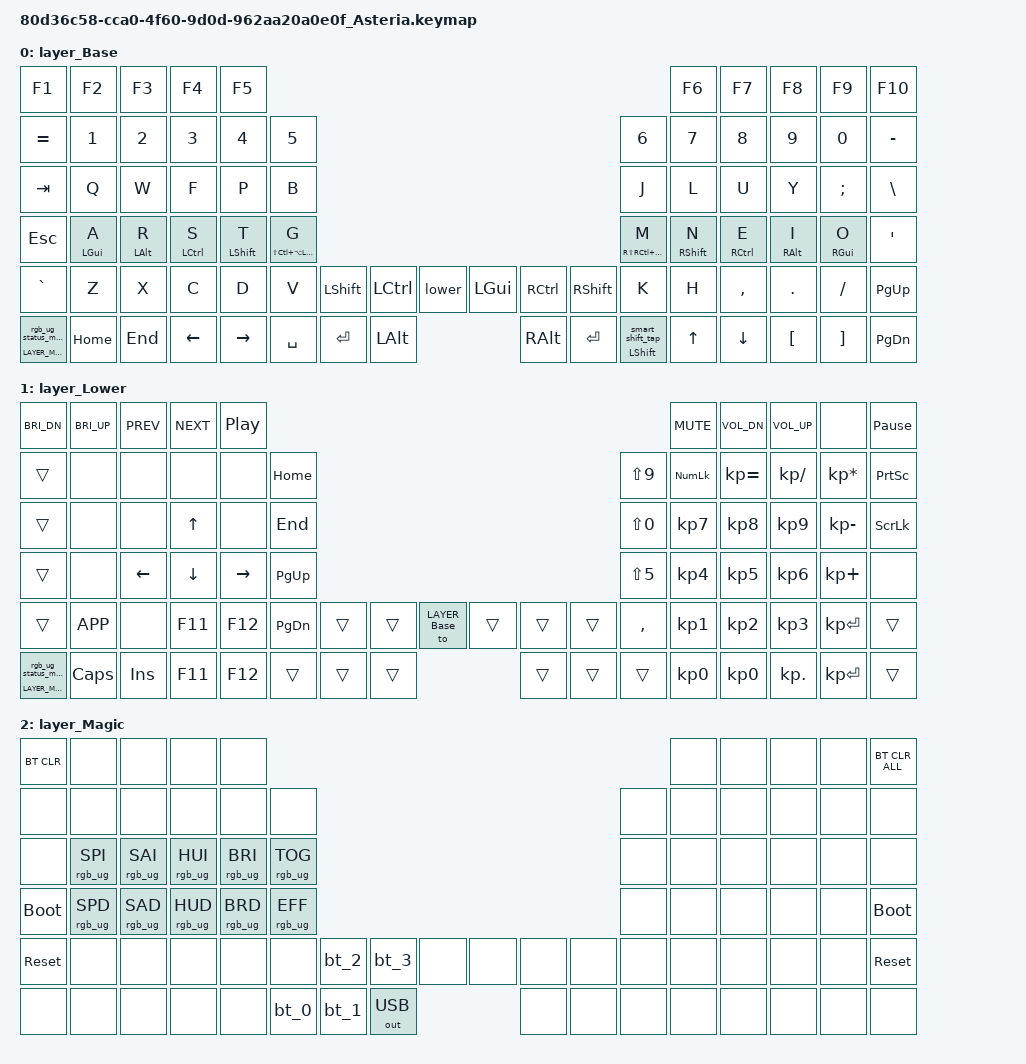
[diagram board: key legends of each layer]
/*
 * Copyright (c) 2020 The ZMK Contributors
 * Copyright (c) 2025 Innaworks Development Limited, trading as MoErgo
 *
 * SPDX-License-Identifier: MIT
 */


/* THIS FILE WAS GENERATED BY GLOVE80 LAYOUT EDITOR
 *
 * This file was generated automatically. You may or may not want to
 * edit it directly.
 */

#include <behaviors.dtsi>
/* Include all behavior includes needed */
#include <dt-bindings/zmk/outputs.h>
#include <dt-bindings/zmk/keys.h>
#include <dt-bindings/zmk/bt.h>
#include <dt-bindings/zmk/rgb.h>

/* On demand includes */


/* Helper Macros, based on https://github.com/urob/zmk-helpers/ */

#pragma once

#define ZMK_HELPER_STRINGIFY(x) #x

// Preprocessor mechanism to overload macros, cf. https://stackoverflow.com/a/27051616/6114651
#define VARGS_(_10, _9, _8, _7, _6, _5, _4, _3, _2, _1, N, ...) N
#define VARGS(...) VARGS_(__VA_ARGS__, 10, 9, 8, 7, 6, 5, 4, 3, 2, 1, 0)
#define CONCAT_(a, b) a##b
#define CONCAT(a, b) CONCAT_(a, b)

#define ZMK_BEHAVIOR_CORE_tap_dance  \
    compatible = "zmk,behavior-tap-dance"; \
    #binding-cells = <0>

#define ZMK_BEHAVIOR(name, type, ...) \
    name: name { \
        ZMK_BEHAVIOR_CORE_ ## type; \
        __VA_ARGS__ \
    };

#define ZMK_TAP_DANCE(name, ...) \
    ZMK_BEHAVIOR(name, tap_dance, __VA_ARGS__)

#define ZMK_TD_LAYER(name, layer) \
    ZMK_TAP_DANCE(name, \
        tapping-term-ms = <200>; \
        bindings = <&mo layer>, <&to layer>; \
)

/* Environment and metadata defines */
#define KB_TYPE_GLOVE_80 1
#define KB_TYPE_GO_60    2

#define KB_TYPE          KB_TYPE_GLOVE_80
#define EDITOR_HOST_OS   'L'

/* Automatically generated layer name defines */
#define LAYER_Base 0
#define LAYER_Lower 1
#define LAYER_Magic 2

/* To deal with the situation where there is no Lower layer, to keep &lower happy */
#ifndef LAYER_Lower
#define LAYER_Lower 0
#endif

/* Custom Device-tree */


/* Input Listeners */


/* System behavior and Macros */
/ {
    behaviors {
        ZMK_TD_LAYER(lower, LAYER_Lower)
    };
};

/ {
    macros {
        rgb_ug_status_macro: rgb_ug_status_macro {
            label = "RGB_UG_STATUS";
            compatible = "zmk,behavior-macro";
            #binding-cells = <0>;
            bindings
                = <&rgb_ug RGB_STATUS>;
        };
    };
};


/ {
#ifdef BT_DISC_CMD
    behaviors {
        bt_0: bt_0 {
            compatible = "zmk,behavior-tap-dance";
            label = "BT_0";
            #binding-cells = <0>;
            tapping-term-ms = <200>;
            bindings = <&bt_select_0>, <&bt BT_DISC 0>;
        };
        bt_1: bt_1 {
            compatible = "zmk,behavior-tap-dance";
            label = "BT_1";
            #binding-cells = <0>;
            tapping-term-ms = <200>;
            bindings = <&bt_select_1>, <&bt BT_DISC 1>;
        };
        bt_2: bt_2 {
            compatible = "zmk,behavior-tap-dance";
            label = "BT_2";
            #binding-cells = <0>;
            tapping-term-ms = <200>;
            bindings = <&bt_select_2>, <&bt BT_DISC 2>;
        };
        bt_3: bt_3 {
            compatible = "zmk,behavior-tap-dance";
            label = "BT_3";
            #binding-cells = <0>;
            tapping-term-ms = <200>;
            bindings = <&bt_select_3>, <&bt BT_DISC 3>;
        };
    };
    macros {
        bt_select_0: bt_select_0 {
            label = "BT_SELECT_0";
            compatible = "zmk,behavior-macro";
            #binding-cells = <0>;
            bindings
                = <&out OUT_BLE>,
                  <&bt BT_SEL 0>;
        };
        bt_select_1: bt_select_1 {
            label = "BT_SELECT_1";
            compatible = "zmk,behavior-macro";
            #binding-cells = <0>;
            bindings
                = <&out OUT_BLE>,
                  <&bt BT_SEL 1>;
        };
        bt_select_2: bt_select_2 {
            label = "BT_SELECT_2";
            compatible = "zmk,behavior-macro";
            #binding-cells = <0>;
            bindings
                = <&out OUT_BLE>,
                  <&bt BT_SEL 2>;
        };
        bt_select_3: bt_select_3 {
            label = "BT_SELECT_3";
            compatible = "zmk,behavior-macro";
            #binding-cells = <0>;
            bindings
                = <&out OUT_BLE>,
                  <&bt BT_SEL 3>;
        };
    };
#else
    macros {
        bt_0: bt_0 {
            label = "BT_0";
            compatible = "zmk,behavior-macro";
            #binding-cells = <0>;
            bindings
                = <&out OUT_BLE>,
                  <&bt BT_SEL 0>;
        };
        bt_1: bt_1 {
            label = "BT_1";
            compatible = "zmk,behavior-macro";
            #binding-cells = <0>;
            bindings
                = <&out OUT_BLE>,
                  <&bt BT_SEL 1>;
        };
        bt_2: bt_2 {
            label = "BT_2";
            compatible = "zmk,behavior-macro";
            #binding-cells = <0>;
            bindings
                = <&out OUT_BLE>,
                  <&bt BT_SEL 2>;
        };
        bt_3: bt_3 {
            label = "BT_3";
            compatible = "zmk,behavior-macro";
            #binding-cells = <0>;
            bindings
                = <&out OUT_BLE>,
                  <&bt BT_SEL 3>;
        };
    };
#endif
};

/ {
    behaviors {
        magic: magic {
            compatible = "zmk,behavior-hold-tap";
            label = "MAGIC_HOLD_TAP";
            #binding-cells = <2>;
            flavor = "tap-preferred";
            tapping-term-ms = <200>;
            bindings = <&mo>, <&rgb_ug_status_macro>;
        };
    };
};


/* Key positions */

#define POS_LH_C6R1 0
#define POS_LH_C5R1 1
#define POS_LH_C4R1 2
#define POS_LH_C3R1 3
#define POS_LH_C2R1 4
#define POS_RH_C2R1 5
#define POS_RH_C3R1 6
#define POS_RH_C4R1 7
#define POS_RH_C5R1 8
#define POS_RH_C6R1 9
#define POS_LH_C6R2 10
#define POS_LH_C5R2 11
#define POS_LH_C4R2 12
#define POS_LH_C3R2 13
#define POS_LH_C2R2 14
#define POS_LH_C1R2 15
#define POS_RH_C1R2 16
#define POS_RH_C2R2 17
#define POS_RH_C3R2 18
#define POS_RH_C4R2 19
#define POS_RH_C5R2 20
#define POS_RH_C6R2 21
#define POS_LH_C6R3 22
#define POS_LH_C5R3 23
#define POS_LH_C4R3 24
#define POS_LH_C3R3 25
#define POS_LH_C2R3 26
#define POS_LH_C1R3 27
#define POS_RH_C1R3 28
#define POS_RH_C2R3 29
#define POS_RH_C3R3 30
#define POS_RH_C4R3 31
#define POS_RH_C5R3 32
#define POS_RH_C6R3 33
#define POS_LH_C6R4 34
#define POS_LH_C5R4 35
#define POS_LH_C4R4 36
#define POS_LH_C3R4 37
#define POS_LH_C2R4 38
#define POS_LH_C1R4 39
#define POS_RH_C1R4 40
#define POS_RH_C2R4 41
#define POS_RH_C3R4 42
#define POS_RH_C4R4 43
#define POS_RH_C5R4 44
#define POS_RH_C6R4 45
#define POS_LH_C6R5 46
#define POS_LH_C5R5 47
#define POS_LH_C4R5 48
#define POS_LH_C3R5 49
#define POS_LH_C2R5 50
#define POS_LH_C1R5 51
#define POS_LH_T1 52
#define POS_LH_T2 53
#define POS_LH_T3 54
#define POS_RH_T3 55
#define POS_RH_T2 56
#define POS_RH_T1 57
#define POS_RH_C1R5 58
#define POS_RH_C2R5 59
#define POS_RH_C3R5 60
#define POS_RH_C4R5 61
#define POS_RH_C5R5 62
#define POS_RH_C6R5 63
#define POS_LH_C6R6 64
#define POS_LH_C5R6 65
#define POS_LH_C4R6 66
#define POS_LH_C3R6 67
#define POS_LH_C2R6 68
#define POS_LH_T4 69
#define POS_LH_T5 70
#define POS_LH_T6 71
#define POS_RH_T6 72
#define POS_RH_T5 73
#define POS_RH_T4 74
#define POS_RH_C2R6 75
#define POS_RH_C3R6 76
#define POS_RH_C4R6 77
#define POS_RH_C5R6 78
#define POS_RH_C6R6 79


/* Custom Defined Behaviors */
/ {
/*                               GLOVE80 KEY MATRIX / LAYOUT MAPPING
 ╭────────────────────╮       ╭────────────────────╮ ╭────────────────────╮       ╭────────────────────╮
 │  0   1   2   3   4 ╰───┬───╯  5   6   7   8   9 │ │ LC5 LC4 LC3 LC2 LC1╰───┬───╯ RC1 RC2 RC3 RC4 RC5│
 │ 10  11  12  13  14  15 │ 16  17  18  19  20  21 │ │ LN5 LN4 LN3 LN2 LN1 LN0│ RN0 RN1 RN2 RN3 RN4 RN5│
 │ 22  23  24  25  26  27 │ 28  29  30  31  32  33 │ │ LT5 LT4 LT3 LT2 LT1 LT0│ RT0 RT1 RT2 RT3 RT4 RT5│
 │ 34  35  36  37  38  39 │ 40  41  42  43  44  45 │ │ LM5 LM4 LM3 LM2 LM1 LM0│ RM0 RM1 RM2 RM3 RM4 RM5│
 │ 46  47  48  49  50  51 │ 58  59  60  61  62  63 │ │ LB5 LB4 LB3 LB2 LB1 LB0│ RB0 RB1 RB2 RB3 RB4 RB5│
 │ 64  65  66  67  68 ╭───┴───╮ 75  76  77  78  79 │ │ LF5 LF4 LF3 LF2 LF1╭───┴───╮ RF1 RF2 RF3 RF4 RF5│
 ╰───────────┬────────┴───┬───┴────────┬───────────╯ ╰───────────┬────────┴───┬───┴────────┬───────────╯
             │ 52  53  54 │ 55  56  57 │                         │ LH5 LH4 LH3│ RH3 RH4 RH5│
             │ 69  70  71 │ 72  73  74 │                         │ LH2 LH1 LH0│ RH0 RH1 RH2│
             ╰────────────┴────────────╯                         ╰────────────┴────────────╯
 */

#pragma once

#define LC1  4  // left-ceiling row
#define LC2  3
#define LC3  2
#define LC4  1
#define LC5  0

#define RC1  5  // right-ceiling row
#define RC2  6
#define RC3  7
#define RC4  8
#define RC5  9

#define LN0 15  // left-number row
#define LN1 14
#define LN2 13
#define LN3 12
#define LN4 11
#define LN5 10

#define RN0 16  // right-number row
#define RN1 17
#define RN2 18
#define RN3 19
#define RN4 20
#define RN5 21

#define LT0 27  // left-top row
#define LT1 26
#define LT2 25
#define LT3 24
#define LT4 23
#define LT5 22

#define RT0 28  // right-top row
#define RT1 29
#define RT2 30
#define RT3 31
#define RT4 32
#define RT5 33

#define LM0 39  // left-middle row
#define LM1 38
#define LM2 37
#define LM3 36
#define LM4 35
#define LM5 34

#define RM0 40  // right-middle row
#define RM1 41
#define RM2 42
#define RM3 43
#define RM4 44
#define RM5 45

#define LB0 51  // left-bottom row
#define LB1 50
#define LB2 49
#define LB3 48
#define LB4 47
#define LB5 46

#define RB0 58  // right-bottom row
#define RB1 59
#define RB2 60
#define RB3 61
#define RB4 62
#define RB5 63

#define LF1 68  // left-floor row
#define LF2 67
#define LF3 66
#define LF4 65
#define LF5 64

#define RF1 75  // right-floor row
#define RF2 76
#define RF3 77
#define RF4 78
#define RF5 79

#define LH0 71  // left thumb keys
#define LH1 70
#define LH2 69
#define LH3 54
#define LH4 53
#define LH5 52

#define RH0 72  // right thumb keys
#define RH1 73
#define RH2 74
#define RH3 55
#define RH4 56
#define RH5 57

#define NUMROW LN0 LN1 LN2 LN3 LN4 LN5 RN0 RN1 RN2 RN3 RN4 RN5
#define KEYS_L LT0 LT1 LT2 LT3 LT4 LT5 LM0 LM1 LM2 LM3 LM4 LM5 LB0 LB1 LB2 LB3 LB4 LB5
#define KEYS_R RT0 RT1 RT2 RT3 RT4 RT5 RM0 RM1 RM2 RM3 RM4 RM5 RB0 RB1 RB2 RB3 RB4 RB5
#define THUMBS_L LH0 LH1 LH2 LH3 LH4 LH5
#define THUMBS_R RH0 RH1 RH2 RH3 RH4 RH5
#define THUMBS THUMBS_L THUMBS_R

#ifndef TAPPING_TERM_MS
#define TAPPING_TERM_MS 280
#endif
#ifndef QUICK_TAP_MS
#define QUICK_TAP_MS 175
#endif
#ifndef REQUIRE_PRIOR_IDLE_MS
#define REQUIRE_PRIOR_IDLE_MS 150
#endif

/////////////////////////////////////////////////////////////////////////////
// Home row mods
/////////////////////////////////////////////////////////////////////////////
// hold-trigger-on-release is mainline behavior in ZMK v0.3 -- no patch needed.
#define MAKE_HRM(name, trigger_keys) \
    behaviors { \
        name: name { \
            compatible = "zmk,behavior-hold-tap"; \
            #binding-cells = <2>; \
            flavor = "balanced"; \
            tapping-term-ms = <TAPPING_TERM_MS>; \
            quick-tap-ms = <QUICK_TAP_MS>; \
            require-prior-idle-ms = <REQUIRE_PRIOR_IDLE_MS>; \
            bindings = <&kp>, <&kp>; \
            hold-trigger-key-positions = <trigger_keys>; \
            hold-trigger-on-release; \
        }; \
    };

MAKE_HRM(hml, KEYS_R THUMBS)
MAKE_HRM(hmr, KEYS_L THUMBS)

/////////////////////////////////////////////////////////////////////////////
// Layer-tap replacement
/////////////////////////////////////////////////////////////////////////////
// ZMK's built-in &lt default flavor is "tap-preferred", which buffers any
// interrupting key until the tapping-term timer expires -- i.e. it is
// "timerful" and defeats the point of the balanced home row mods above.
// "balanced" instead resolves the hold as soon as an interrupting key is
// both pressed AND released within the tapping term, so a real hold engages
// the layer immediately and a real tap lets the interrupting key through
// immediately. quick-tap-ms additionally lets a double-tap-and-hold
// auto-repeat the tap keycode instead of re-triggering the layer hold.
//
// This is a new named behavior (&tlt) that REPLACES `&lt` in your keymap's
// bindings, rather than a label-override of `&lt` itself: label-overrides
// (`&lt { ... };`) are impossible in the Glove80 injection context (they are
// only valid at the devicetree top level, not inside the root node), and a
// named behavior also avoids globally mutating `&lt` for anything else that
// might rely on its stock tap-preferred behavior.
behaviors {
    tlt: tlt {
        compatible = "zmk,behavior-hold-tap";
        #binding-cells = <2>;
        flavor = "balanced";
        tapping-term-ms = <200>;
        quick-tap-ms = <QUICK_TAP_MS>;
        bindings = <&mo>, <&kp>;
    };
};

/////////////////////////////////////////////////////////////////////////////
// Smart shift (simplified urob magic-shift, thumb key)
/////////////////////////////////////////////////////////////////////////////
// tap         -> sticky shift: capitalizes only the next key pressed
// shift + tap -> caps-word: capitalizes until the next word break
// hold        -> regular (momentary) shift
//
// Deliberately NO require-prior-idle-ms here: unlike the home row mods above,
// this key is meant to be pressed mid-typing-flow (e.g. mid-word, to
// capitalize the next letter), so it must not be gated behind an idle period.
behaviors {
    sticky_shift: sticky_shift {
        compatible = "zmk,behavior-sticky-key";
        #binding-cells = <1>;
        bindings = <&kp>;
        release-after-ms = <1000>;
        quick-release;
        ignore-modifiers;
    };

    smart_shift_tap: smart_shift_tap {
        compatible = "zmk,behavior-mod-morph";
        #binding-cells = <0>;
        bindings = <&sticky_shift LSHFT>, <&caps_word>;
        mods = <(MOD_LSFT|MOD_RSFT)>;
    };

    smart_shift: smart_shift {
        compatible = "zmk,behavior-hold-tap";
        #binding-cells = <2>;
        flavor = "balanced";
        tapping-term-ms = <200>;
        quick-tap-ms = <QUICK_TAP_MS>;
        bindings = <&kp>, <&smart_shift_tap>;
    };
};

// convenience alias: use SMART_SHIFT directly as a keymap binding
#define SMART_SHIFT &smart_shift LSHFT 0
};

/* Generated input processors */


/* Automatically generated macro definitions */
/ {
    macros {

    };
};

/* Automatically generated behavior definitions */
/ {
    behaviors {


    };
};

/* Automatically generated combos definitions */
/ {
    combos {
        compatible = "zmk,combos";

        // bksp combo
        combo_bksp_combo {
            key-positions = <POS_RH_C2R3 POS_RH_C3R3>;
            bindings = <&kp BSPC>;
        };

        // esc combo
        combo_esc_combo {
            key-positions = <POS_LH_C4R3 POS_LH_C3R3>;
            bindings = <&kp ESC>;
        };

        // tab combo
        combo_tab_combo {
            key-positions = <POS_LH_C4R4 POS_LH_C3R4>;
            bindings = <&kp TAB>;
        };
    };
};

/* Automatically generated keymap */
/ {
    keymap {
        compatible = "zmk,keymap";


        layer_Base {
            bindings = <
               &kp F1       &kp F2        &kp F3        &kp F4        &kp F5                                                                                                                                     &kp F6        &kp F7       &kp F8       &kp F9    &kp F10
            &kp EQUAL       &kp N1        &kp N2        &kp N3        &kp N4                   &kp N5                                                                                              &kp N6        &kp N7        &kp N8       &kp N9       &kp N0  &kp MINUS
              &kp TAB        &kp Q         &kp W         &kp F         &kp P                    &kp B                                                                                               &kp J         &kp L         &kp U        &kp Y     &kp SEMI   &kp BSLH
              &kp ESC  &hml LGUI A  &hml LALT  R  &hml LCTRL S  &hml LSHFT T  &hml LS(LC(LA(LGUI))) G                                                                             &hmr RS(RC(RA(RGUI))) M  &hmr RSHFT N  &hmr RCTRL E  &hmr RALT I  &hmr RGUI O    &kp SQT
            &kp GRAVE        &kp Z         &kp X         &kp C         &kp D                    &kp V  &kp LSHFT  &kp LCTRL    &lower  &kp LGUI  &kp RCTRL             &kp RSHFT                    &kp K         &kp H     &kp COMMA      &kp DOT     &kp FSLH  &kp PG_UP
 &magic LAYER_Magic 0     &kp HOME       &kp END      &kp LEFT     &kp RIGHT                           &kp SPACE    &kp RET  &kp LALT  &kp RALT    &kp RET  &smart_shift LSHFT 0                                 &kp UP      &kp DOWN     &kp LBKT     &kp RBKT  &kp PG_DN
            >;
        };

        layer_Lower {
            bindings = <
         &kp C_BRI_DN  &kp C_BRI_UP      &kp C_PREV      &kp C_NEXT         &kp C_PP                                                                                 &kp C_MUTE  &kp C_VOL_DN  &kp C_VOL_UP            &none  &kp PAUSE_BREAK
               &trans         &none           &none           &none            &none   &kp HOME                                                          &kp LS(N9)  &kp KP_NUM  &kp KP_EQUAL  &kp KP_SLASH  &kp KP_MULTIPLY  &kp PRINTSCREEN
               &trans         &none           &none    &kp UP_ARROW            &none    &kp END                                                          &kp LS(N0)   &kp KP_N7     &kp KP_N8     &kp KP_N9     &kp KP_MINUS   &kp SCROLLLOCK
               &trans         &none  &kp LEFT_ARROW  &kp DOWN_ARROW  &kp RIGHT_ARROW  &kp PG_UP                                                          &kp LS(N5)   &kp KP_N4     &kp KP_N5     &kp KP_N6      &kp KP_PLUS            &none
               &trans     &kp K_APP           &none         &kp F11          &kp F12  &kp PG_DN  &trans  &trans  &to LAYER_Base  &trans  &trans  &trans   &kp COMMA   &kp KP_N1     &kp KP_N2     &kp KP_N3     &kp KP_ENTER           &trans
 &magic LAYER_Magic 0      &kp CAPS         &kp INS         &kp F11          &kp F12             &trans  &trans          &trans  &trans  &trans  &trans               &kp KP_N0     &kp KP_N0    &kp KP_DOT     &kp KP_ENTER           &trans
            >;
        };

        layer_Magic {
            bindings = <
  &bt BT_CLR            &none            &none            &none            &none                                                                                  &none   &none   &none   &none  &bt BT_CLR_ALL
       &none            &none            &none            &none            &none            &none                                                         &none   &none   &none   &none   &none           &none
       &none  &rgb_ug RGB_SPI  &rgb_ug RGB_SAI  &rgb_ug RGB_HUI  &rgb_ug RGB_BRI  &rgb_ug RGB_TOG                                                         &none   &none   &none   &none   &none           &none
 &bootloader  &rgb_ug RGB_SPD  &rgb_ug RGB_SAD  &rgb_ug RGB_HUD  &rgb_ug RGB_BRD  &rgb_ug RGB_EFF                                                         &none   &none   &none   &none   &none     &bootloader
  &sys_reset            &none            &none            &none            &none            &none   &bt_2   &bt_3         &none   &none   &none   &none   &none   &none   &none   &none   &none      &sys_reset
       &none            &none            &none            &none            &none                    &bt_0   &bt_1  &out OUT_USB   &none   &none   &none           &none   &none   &none   &none           &none
            >;
        };

    };
};
